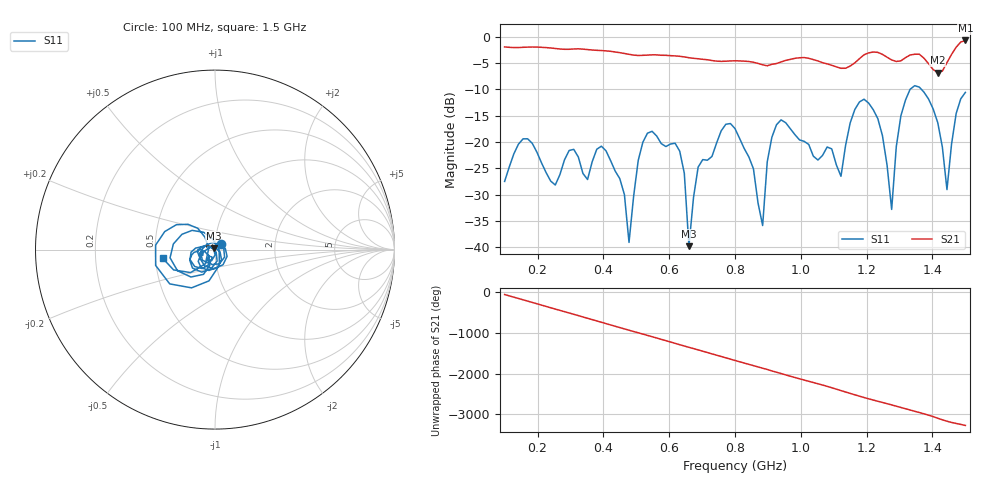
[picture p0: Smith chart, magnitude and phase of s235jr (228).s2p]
! NanoVNA-App
! Date: 2025-09-25 15:05:56
! Start: 100MHz Stop: 1,5GHz Points: 101
! S-Parameter data: F S11 S21 S12 S22
# Hz S RI R 50
!  Frequency  S11_Real  S11_Imag  S21_Real  S21_Imag  S12_Real  S12_Imag  S22_Real  S22_Imag
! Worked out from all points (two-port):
!   101 points, 100 MHz to 1.5 GHz, reference 50 ohm
!   highest |S21| = -0.74 dB at 1.5 GHz (marker M1); lowest = -6.8 dB at 1.416 GHz (marker M2)
!   |S21| within 3 dB of the highest: start of sweep to 631.5 MHz; 1.187 GHz to 1.257 GHz (70.62 MHz wide, 5.78 % of centre) (the widest 2 of 4)
!   lowest |S11| = -39.7 dB at 660 MHz (marker M3), VSWR 1.02, Z = 49.2 + j0.636 ohm
!   |S11| at or under -10 dB: start of sweep to 1.332 GHz; 1.366 GHz to end of sweep
!   S12 and S22 are empty: the file has one direction only
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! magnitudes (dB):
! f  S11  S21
! 100 MHz  -27.5  -2.0
! 156 MHz  -19.4  -2.0
! 338 MHz  -26.0  -2.4
! 408 MHz  -21.7  -2.7
! 478 MHz  -39.0  -3.4
! 520 MHz  -20.0  -3.6
! 576 MHz  -20.3  -3.5
! 632 MHz  -21.7  -3.7
! 660 MHz  -39.7  -4.0
! 688 MHz  -24.8  -4.2
! 800 MHz  -17.4  -4.6
! 884 MHz  -35.8  -5.4
! 926 MHz  -16.7  -5.1
! 1.038 GHz  -22.7  -4.4
! 1.122 GHz  -26.5  -6.0
! 1.192 GHz  -11.9  -3.5
! 1.248 GHz  -18.8  -3.4
! 1.276 GHz  -32.8  -4.4
! 1.332 GHz  -10.0  -3.5
! 1.416 GHz  -16.3  -6.8
! 1.444 GHz  -29.0  -4.9
! 1.5 GHz  -10.6  -0.7
